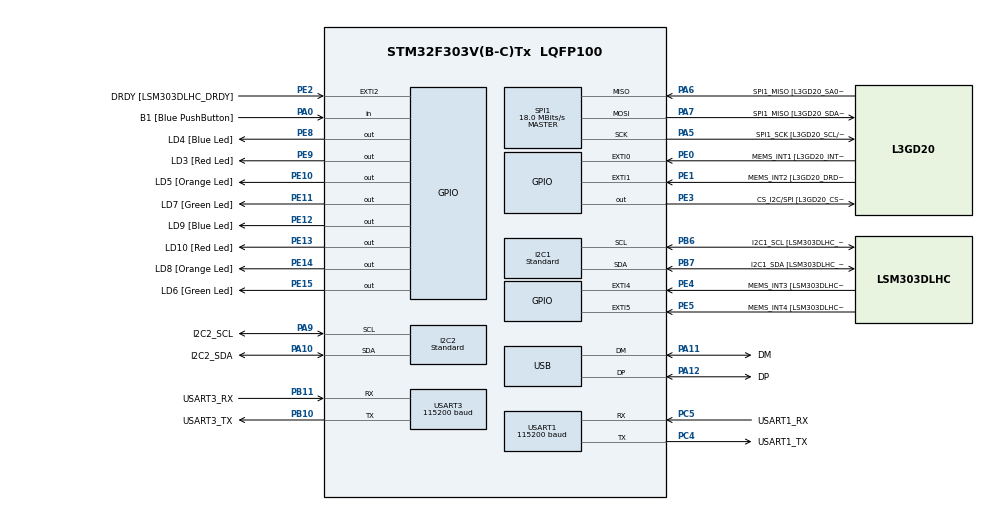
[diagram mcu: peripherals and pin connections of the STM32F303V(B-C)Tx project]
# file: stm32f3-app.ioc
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Dma.I2C1_RX.5.Direction=DMA_PERIPH_TO_MEMORY
Dma.I2C1_RX.5.Instance=DMA1_Channel7
Dma.I2C1_RX.5.MemDataAlignment=DMA_MDATAALIGN_BYTE
Dma.I2C1_RX.5.MemInc=DMA_MINC_ENABLE
Dma.I2C1_RX.5.Mode=DMA_NORMAL
Dma.I2C1_RX.5.PeriphDataAlignment=DMA_PDATAALIGN_BYTE
Dma.I2C1_RX.5.PeriphInc=DMA_PINC_DISABLE
Dma.I2C1_RX.5.Priority=DMA_PRIORITY_LOW
Dma.I2C1_TX.6.Direction=DMA_MEMORY_TO_PERIPH
Dma.I2C1_TX.6.Instance=DMA1_Channel6
Dma.I2C1_TX.6.MemDataAlignment=DMA_MDATAALIGN_BYTE
Dma.I2C1_TX.6.MemInc=DMA_MINC_ENABLE
Dma.I2C1_TX.6.Mode=DMA_NORMAL
Dma.I2C1_TX.6.PeriphDataAlignment=DMA_PDATAALIGN_BYTE
Dma.I2C1_TX.6.PeriphInc=DMA_PINC_DISABLE
Dma.I2C1_TX.6.Priority=DMA_PRIORITY_LOW
Dma.MEMTOMEM.0.Direction=DMA_MEMORY_TO_MEMORY
Dma.MEMTOMEM.0.Instance=DMA1_Channel1
Dma.MEMTOMEM.0.MemDataAlignment=DMA_MDATAALIGN_BYTE
Dma.MEMTOMEM.0.MemInc=DMA_MINC_ENABLE
Dma.MEMTOMEM.0.Mode=DMA_NORMAL
Dma.MEMTOMEM.0.PeriphDataAlignment=DMA_PDATAALIGN_BYTE
Dma.MEMTOMEM.0.PeriphInc=DMA_PINC_ENABLE
Dma.MEMTOMEM.0.Priority=DMA_PRIORITY_LOW
Dma.Request0=MEMTOMEM
Dma.Request1=USART1_RX
Dma.Request2=USART1_TX
Dma.Request3=USART3_RX
Dma.Request4=USART3_TX
Dma.Request5=I2C1_RX
Dma.Request6=I2C1_TX
Dma.USART1_RX.1.Direction=DMA_PERIPH_TO_MEMORY
Dma.USART1_RX.1.Instance=DMA1_Channel5
Dma.USART1_RX.1.MemDataAlignment=DMA_MDATAALIGN_BYTE
Dma.USART1_RX.1.MemInc=DMA_MINC_ENABLE
Dma.USART1_RX.1.Mode=DMA_CIRCULAR
Dma.USART1_RX.1.PeriphDataAlignment=DMA_PDATAALIGN_BYTE
Dma.USART1_RX.1.PeriphInc=DMA_PINC_DISABLE
Dma.USART1_RX.1.Priority=DMA_PRIORITY_LOW
Dma.USART1_TX.2.Direction=DMA_MEMORY_TO_PERIPH
Dma.USART1_TX.2.Instance=DMA1_Channel4
Dma.USART1_TX.2.MemDataAlignment=DMA_MDATAALIGN_BYTE
Dma.USART1_TX.2.MemInc=DMA_MINC_ENABLE
Dma.USART1_TX.2.Mode=DMA_NORMAL
Dma.USART1_TX.2.PeriphDataAlignment=DMA_PDATAALIGN_BYTE
Dma.USART1_TX.2.PeriphInc=DMA_PINC_DISABLE
Dma.USART1_TX.2.Priority=DMA_PRIORITY_LOW
Dma.USART3_RX.3.Direction=DMA_PERIPH_TO_MEMORY
Dma.USART3_RX.3.Instance=DMA1_Channel3
Dma.USART3_RX.3.MemDataAlignment=DMA_MDATAALIGN_BYTE
Dma.USART3_RX.3.MemInc=DMA_MINC_ENABLE
Dma.USART3_RX.3.Mode=DMA_CIRCULAR
Dma.USART3_RX.3.PeriphDataAlignment=DMA_PDATAALIGN_BYTE
Dma.USART3_RX.3.PeriphInc=DMA_PINC_DISABLE
Dma.USART3_RX.3.Priority=DMA_PRIORITY_LOW
Dma.USART3_TX.4.Direction=DMA_MEMORY_TO_PERIPH
Dma.USART3_TX.4.Instance=DMA1_Channel2
Dma.USART3_TX.4.MemDataAlignment=DMA_MDATAALIGN_BYTE
Dma.USART3_TX.4.MemInc=DMA_MINC_ENABLE
Dma.USART3_TX.4.Mode=DMA_NORMAL
Dma.USART3_TX.4.PeriphDataAlignment=DMA_PDATAALIGN_BYTE
Dma.USART3_TX.4.PeriphInc=DMA_PINC_DISABLE
Dma.USART3_TX.4.Priority=DMA_PRIORITY_LOW
I2C1.I2C_Speed_Mode=I2C_Standard
I2C1.OwnAddress=0
I2C1.Timing=0x10808DD3
I2C1.Timing-I2C=0x2000090E
I2C2.I2C_Speed_Mode=I2C_Standard
I2C2.Timing=0x10808DD3
IWDG.Prescaler=IWDG_PRESCALER_128
IWDG.Reload=3125
IWDG.Window=3125
Mcu.Family=STM32F3
Mcu.Name=STM32F303V(B-C)Tx
Mcu.Package=LQFP100
NVIC.DMA1_Channel2_IRQn=true\:1\:2\:true\:false\:true\:false\:true\:true
NVIC.DMA1_Channel3_IRQn=true\:1\:1\:true\:false\:true\:false\:true\:true
NVIC.DMA1_Channel4_IRQn=true\:1\:2\:true\:false\:true\:false\:true\:true
NVIC.DMA1_Channel5_IRQn=true\:1\:1\:true\:false\:true\:false\:true\:true
NVIC.DMA1_Channel6_IRQn=true\:2\:1\:true\:false\:true\:false\:true\:true
NVIC.DMA1_Channel7_IRQn=true\:2\:2\:true\:false\:true\:false\:true\:true
NVIC.I2C1_ER_IRQn=true\:0\:0\:false\:false\:true\:true\:true\:true
NVIC.I2C1_EV_IRQn=true\:2\:0\:true\:false\:true\:true\:true\:true
NVIC.I2C2_ER_IRQn=true\:0\:0\:false\:false\:true\:true\:true\:true
NVIC.I2C2_EV_IRQn=true\:0\:0\:true\:false\:true\:true\:true\:true
NVIC.PriorityGroup=NVIC_PRIORITYGROUP_2
NVIC.USART1_IRQn=true\:1\:0\:true\:false\:true\:true\:true\:true
NVIC.USART3_IRQn=true\:1\:0\:true\:false\:true\:true\:true\:true
NVIC.USB_HP_IRQn=true\:3\:3\:true\:false\:true\:true\:true\:true
NVIC.USB_LP_IRQn=true\:3\:3\:true\:false\:true\:false\:true\:true
PA0.GPIO_Label=B1 [Blue PushButton]
PA0.Signal=GPIO_Input
PA10.GPIO_Label=I2C2_SDA
PA10.GPIO_Pu=GPIO_PULLUP
PA10.Mode=I2C
PA10.Signal=I2C2_SDA
PA11.GPIO_Label=DM
PA11.Mode=Device
PA11.Signal=USB_DM
PA12.GPIO_Label=DP
PA12.Mode=Device
PA12.Signal=USB_DP
PA13.GPIO_Label=SWDIO
PA13.Mode=Serial_Wire
PA13.Signal=SYS_JTMS-SWDIO
PA14.GPIO_Label=SWCLK
PA14.Mode=Serial_Wire
PA14.Signal=SYS_JTCK-SWCLK
PA5.GPIO_Label=SPI1_SCK [L3GD20_SCL/SPC]
PA5.Mode=Full_Duplex_Master
PA5.Signal=SPI1_SCK
PA6.GPIO_Label=SPI1_MISO [L3GD20_SA0/SDO]
PA6.Mode=Full_Duplex_Master
PA6.Signal=SPI1_MISO
PA7.GPIO_Label=SPI1_MISO [L3GD20_SDA/SDI/SDO]
PA7.Mode=Full_Duplex_Master
PA7.Signal=SPI1_MOSI
PA9.GPIO_Label=I2C2_SCL
PA9.GPIO_Pu=GPIO_PULLUP
PA9.Mode=I2C
PA9.Signal=I2C2_SCL
PB10.GPIO_Label=USART3_TX
PB10.Mode=Asynchronous
PB10.Signal=USART3_TX
PB11.GPIO_Label=USART3_RX
PB11.Mode=Asynchronous
PB11.Signal=USART3_RX
PB13.GPIO_Label=SPI2_SCK
PB13.Signal=SPI2_SCK
PB14.GPIO_Label=SP2_MISO
PB14.Signal=SPI2_MISO
PB15.GPIO_Label=SPI2_MOSI
PB15.Signal=SPI2_MOSI
PB3.GPIO_Label=SWO
PB3.Signal=SYS_JTDO-TRACESWO
PB6.GPIO_FM6=SYSCFG_CFGR1_I2C_PB6_FMP
PB6.GPIO_Label=I2C1_SCL [LSM303DLHC_SCL]
PB6.GPIO_Pu=GPIO_PULLUP
PB6.Mode=I2C
PB6.Signal=I2C1_SCL
PB7.GPIO_FM7=SYSCFG_CFGR1_I2C_PB7_FMP
PB7.GPIO_Label=I2C1_SDA [LSM303DLHC_SDA]
PB7.GPIO_Pu=GPIO_PULLUP
PB7.Mode=I2C
PB7.Signal=I2C1_SDA
PC10.GPIO_Label=SPI3_SCK
PC10.Signal=SPI3_SCK
PC11.GPIO_Label=SPI3_MISO
PC11.Signal=SPI3_MISO
PC12.GPIO_Label=SPI3_MOSI
PC12.Signal=SPI3_MOSI
PC14-OSC32_IN.GPIO_Label=OSC32_IN
PC14-OSC32_IN.Signal=RCC_OSC32_IN
PC15-OSC32_OUT.GPIO_Label=OSC32_OUT
PC15-OSC32_OUT.Signal=RCC_OSC32_OUT
PC4.GPIO_Label=USART1_TX
PC4.Mode=Asynchronous
PC4.Signal=USART1_TX
PC5.GPIO_Label=USART1_RX
PC5.Mode=Asynchronous
PC5.Signal=USART1_RX
PD5.GPIO_Label=USART2_TX
PD5.Signal=USART2_TX
PD6.GPIO_Label=USART2_RX
PD6.Signal=USART2_RX
PE0.GPIO_Label=MEMS_INT1 [L3GD20_INT1]
PE0.GPIO_ModeDefaultEXTI=GPIO_MODE_EVT_RISING
PE0.Signal=GPXTI0
PE1.GPIO_Label=MEMS_INT2 [L3GD20_DRDY/INT2]
PE1.GPIO_ModeDefaultEXTI=GPIO_MODE_EVT_RISING
PE1.Signal=GPXTI1
PE10.GPIO_Label=LD5 [Orange Led]
PE10.GPIO_PuPd=GPIO_PULLUP
PE10.Signal=GPIO_Output
PE11.GPIO_Label=LD7 [Green Led]
PE11.GPIO_PuPd=GPIO_PULLUP
PE11.Signal=GPIO_Output
PE12.GPIO_Label=LD9 [Blue Led]
PE12.GPIO_PuPd=GPIO_PULLUP
PE12.Signal=GPIO_Output
PE13.GPIO_Label=LD10 [Red Led]
PE13.GPIO_PuPd=GPIO_PULLUP
PE13.Signal=GPIO_Output
PE14.GPIO_Label=LD8 [Orange Led]
PE14.GPIO_PuPd=GPIO_PULLUP
PE14.Signal=GPIO_Output
PE15.GPIO_Label=LD6 [Green Led]
PE15.GPIO_PuPd=GPIO_PULLUP
PE15.Signal=GPIO_Output
PE2.GPIO_Label=DRDY [LSM303DLHC_DRDY]
PE2.GPIO_ModeDefaultEXTI=GPIO_MODE_EVT_RISING
PE2.Signal=GPXTI2
PE3.GPIO_Label=CS_I2C/SPI [L3GD20_CS_I2C/SPI]
PE3.Signal=GPIO_Output
PE4.GPIO_Label=MEMS_INT3 [LSM303DLHC_INT1]
PE4.GPIO_ModeDefaultEXTI=GPIO_MODE_EVT_RISING
PE4.Signal=GPXTI4
PE5.GPIO_Label=MEMS_INT4 [LSM303DLHC_INT2]
PE5.GPIO_ModeDefaultEXTI=GPIO_MODE_EVT_RISING
PE5.Signal=GPXTI5
PE8.GPIO_Label=LD4 [Blue Led]
PE8.GPIO_PuPd=GPIO_PULLUP
PE8.Signal=GPIO_Output
PE9.GPIO_Label=LD3 [Red Led]
PE9.GPIO_PuPd=GPIO_PULLUP
PE9.Signal=GPIO_Output
PF0-OSC_IN.GPIO_Label=OSC_IN
PF0-OSC_IN.Mode=HSE-External-Clock-Source
PF0-OSC_IN.Signal=RCC_OSC_IN
PF1-OSC_OUT.GPIO_Label=OSC_OUT
PF1-OSC_OUT.Signal=RCC_OSC_OUT
ProjectManager.HeapSize=0x400
ProjectManager.StackSize=0x800
ProjectManager.TargetToolchain=Makefile
RCC.AHBFreq_Value=72000000
RCC.APB1CLKDivider=RCC_HCLK_DIV2
RCC.APB1Freq_Value=36000000
RCC.APB1TimFreq_Value=72000000
RCC.APB2Freq_Value=72000000
RCC.APB2TimFreq_Value=72000000
RCC.CortexFreq_Value=72000000
RCC.HCLKFreq_Value=72000000
RCC.HSE_VALUE=8000000
RCC.HSI_VALUE=8000000
RCC.I2c1ClockSelection=RCC_I2C1CLKSOURCE_SYSCLK
RCC.I2c2ClockSelection=RCC_I2C2CLKSOURCE_SYSCLK
RCC.LSE_VALUE=32768
RCC.PLLMUL=RCC_PLL_MUL9
RCC.PRESCALERUSB=RCC_USBCLKSOURCE_PLL_DIV1_5
RCC.SYSCLKFreq_VALUE=72000000
RCC.SYSCLKSourceVirtual=RCC_SYSCLKSOURCE_PLLCLK
RCC.USBFreq_Value=48000000
RCC.Usart1ClockSelection=RCC_USART1CLKSOURCE_SYSCLK
RCC.Usart3ClockSelection=RCC_USART3CLKSOURCE_SYSCLK
SPI1.BaudRatePrescaler=SPI_BAUDRATEPRESCALER_4
SPI1.BaudRatePrescaler-Full_Duplex_Master=SPI_BAUDRATEPRESCALER_2
SPI1.CalculateBaudRate=18.0 MBits/s
SPI1.CalculateBaudRate-Full_Duplex_Master=24.0 MBits/s
SPI1.Direction=SPI_DIRECTION_2LINES
SPI1.Mode=SPI_MODE_MASTER
SPI1.Mode-Full_Duplex_Master=SPI_MODE_MASTER
SPI1.VirtualType=VM_MASTER
USART1.BaudRate=115200
USART1.VirtualMode-Asynchronous=VM_ASYNC
USART3.BaudRate=115200
USART3.VirtualMode-Asynchronous=VM_ASYNC
USB_DEVICE.CLASS_NAME_FS=CDC
USB_DEVICE.VirtualMode=Cdc
USB_DEVICE.VirtualModeFS=Cdc_FS
VP_CRC_VS_CRC.Mode=CRC_Activate
VP_IWDG_VS_IWDG.Mode=IWDG_Activate
VP_USB_DEVICE_VS_USB_DEVICE_CDC_FS.Mode=CDC_FS
board=STM32F3DISCOVERY

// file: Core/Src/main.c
/* USER CODE BEGIN Header */
/**
  ******************************************************************************
  * @file           : main.c
  * @brief          : Main program body
  ******************************************************************************
  * @attention
  *
  * Copyright (c) 2023 STMicroelectronics.
  * All rights reserved.
  *
  * This software is licensed under terms that can be found in the LICENSE file
  * in the root directory of this software component.
  * If no LICENSE file comes with this software, it is provided AS-IS.
  *
  ******************************************************************************
  */
/* USER CODE END Header */
#include "main.h"
#include "crc.h"
#include "dma.h"
#include "i2c.h"
#include "iwdg.h"
#include "spi.h"
#include "usart.h"
#include "usb_device.h"
#include "gpio.h"

/* USER CODE BEGIN Includes */
#include "uart_device.h"
#include "i2c_slave.h"
#include "param.h"
#include "task.h"
#include "update.h"
/* USER CODE END Includes */

void SystemClock_Config(void);

/* USER CODE BEGIN 0 */
/* USB 重新枚举函数 */
void USB_Reset(void)
{
  LL_GPIO_InitTypeDef GPIO_InitStruct = {0};

  LL_AHB1_GRP1_EnableClock(LL_AHB1_GRP1_PERIPH_GPIOA);

  GPIO_InitStruct.Pin = DP_Pin;
  GPIO_InitStruct.Mode = LL_GPIO_MODE_OUTPUT;
  GPIO_InitStruct.Speed = LL_GPIO_SPEED_FREQ_LOW;
  GPIO_InitStruct.OutputType = LL_GPIO_OUTPUT_PUSHPULL;
  GPIO_InitStruct.Pull = LL_GPIO_PULL_NO;
  LL_GPIO_Init(DP_GPIO_Port, &GPIO_InitStruct);

  LL_mDelay(25);
  LL_GPIO_ResetOutputPin(DP_GPIO_Port, DP_Pin);
  LL_mDelay(25);
  LL_GPIO_SetOutputPin(DP_GPIO_Port, DP_Pin);
}
/* USER CODE END 0 */

int main(void)
{
  /* USER CODE BEGIN 1 */
  SCB->VTOR = ADDR_BASE_APP;
  /* USER CODE END 1 */

  /* MCU Configuration--------------------------------------------------------*/

  /* Reset of all peripherals, Initializes the Flash interface and the Systick. */
  HAL_Init();

  /* Configure the system clock */
  SystemClock_Config();

  /* USER CODE BEGIN SysInit */
  USB_Reset();
  /* USER CODE END SysInit */

  /* Initialize all configured peripherals */
  MX_GPIO_Init();
  MX_DMA_Init();
  MX_I2C1_Init();
  MX_SPI1_Init();
  MX_USB_DEVICE_Init();
  MX_I2C2_Init();
  MX_USART1_UART_Init();
  MX_USART3_UART_Init();
  MX_CRC_Init();
  MX_IWDG_Init();
  /* USER CODE BEGIN 2 */
  uart_config(DEV_USART1);
  uart_config(DEV_USART3);
  i2c_slave_config();
  LL_mDelay(750);
  sys_param_init();
  task_init();
  boot_param_check(1);
  /* USER CODE END 2 */

  /* Infinite loop */
  /* USER CODE BEGIN WHILE */
  while (1)
  {
    // 任务事件循环
    task_loop();
    /* USER CODE END WHILE */

    /* USER CODE BEGIN 3 */
    LL_IWDG_ReloadCounter(IWDG);
  }
  /* USER CODE END 3 */
}

void SystemClock_Config(void)
{
  LL_FLASH_SetLatency(LL_FLASH_LATENCY_2);
  while(LL_FLASH_GetLatency()!= LL_FLASH_LATENCY_2)
  {
  }
  LL_RCC_HSE_EnableBypass();
  LL_RCC_HSE_Enable();

   /* Wait till HSE is ready */
  while(LL_RCC_HSE_IsReady() != 1)
  {

  }
  LL_RCC_LSI_Enable();

   /* Wait till LSI is ready */
  while(LL_RCC_LSI_IsReady() != 1)
  {

  }
  LL_RCC_PLL_ConfigDomain_SYS(LL_RCC_PLLSOURCE_HSE_DIV_1, LL_RCC_PLL_MUL_9);
  LL_RCC_PLL_Enable();

   /* Wait till PLL is ready */
  while(LL_RCC_PLL_IsReady() != 1)
  {

  }
  LL_RCC_SetAHBPrescaler(LL_RCC_SYSCLK_DIV_1);
  LL_RCC_SetAPB1Prescaler(LL_RCC_APB1_DIV_2);
  LL_RCC_SetAPB2Prescaler(LL_RCC_APB2_DIV_1);
  LL_RCC_SetSysClkSource(LL_RCC_SYS_CLKSOURCE_PLL);

   /* Wait till System clock is ready */
  while(LL_RCC_GetSysClkSource() != LL_RCC_SYS_CLKSOURCE_STATUS_PLL)
  {

  }
  LL_SetSystemCoreClock(72000000);

   /* Update the time base */
  if (HAL_InitTick (TICK_INT_PRIORITY) != HAL_OK)
  {
    Error_Handler();
  }
  LL_RCC_SetUSARTClockSource(LL_RCC_USART1_CLKSOURCE_SYSCLK);
  LL_RCC_SetUSARTClockSource(LL_RCC_USART3_CLKSOURCE_SYSCLK);
  LL_RCC_SetI2CClockSource(LL_RCC_I2C1_CLKSOURCE_SYSCLK);
  LL_RCC_SetI2CClockSource(LL_RCC_I2C2_CLKSOURCE_SYSCLK);
  LL_RCC_SetUSBClockSource(LL_RCC_USB_CLKSOURCE_PLL_DIV_1_5);
}

void Error_Handler(void)
{
  __disable_irq();
  while (1)
  {
  }
}
